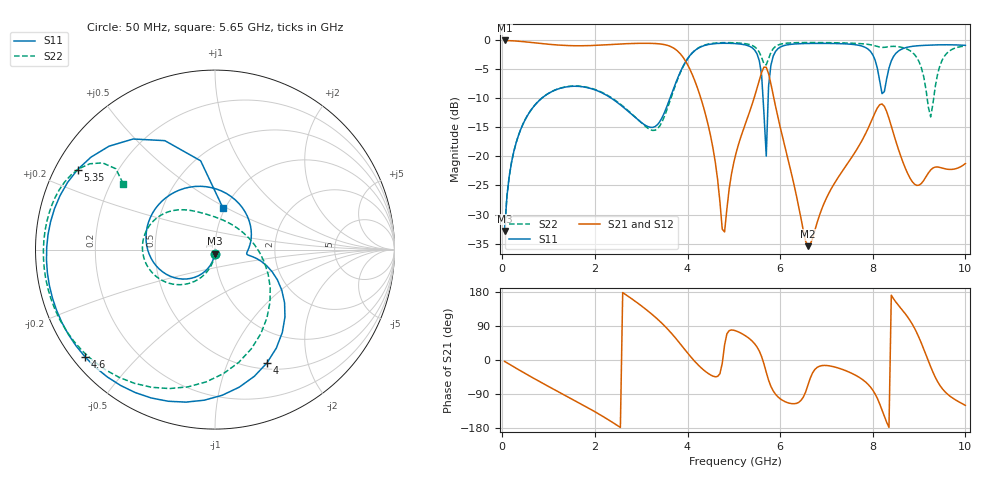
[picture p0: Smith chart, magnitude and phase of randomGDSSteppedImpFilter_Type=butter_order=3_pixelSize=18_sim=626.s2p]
! freq	dB(S11)	phase(S11)	dB(S12)	phase(S12)
!  dB(S21)	phase(S21)	dB(S22)	phase(S22)
!S-par simulation data
#  GHz  S  DB  R 50
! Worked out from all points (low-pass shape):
!   200 points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, 50 MHz to 10 GHz, reference 50 ohm
!   highest |S21| = -0.01 dB at 50 MHz (marker M1); lowest = -35.5 dB at 6.6 GHz (marker M2)
!   |S21| within 3 dB of the highest: start of sweep to 3.911 GHz
!   lowest |S11| = -32.8 dB at 50 MHz (marker M3), VSWR 1.05, Z = 49.8 - j2.26 ohm
!   |S11| at or under -10 dB: start of sweep to 847.4 MHz; 2.362 GHz to 3.62 GHz (1.258 GHz wide, 42 % of centre); 5.631 GHz to 5.741 GHz (110.6 MHz wide, 1.94 % of centre)
!   |S22| runs from -32.8 to -0.4 dB; largest |S21 - S12| = 0
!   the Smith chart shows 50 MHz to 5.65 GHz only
!   S11 on the Smith chart (normalised r, x): 50 MHz: 1.00, -0.05; 4 GHz: 0.57, -1.40; 4.6 GHz: 0.04, -0.36; 5.35 GHz: 0.06, +0.27; 5.65 GHz: 0.98, +0.48
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0.05  -32.85 -94.0  -0.01 -3.7  -0.01 -3.7  -32.83 -93.3
0.5  -13.57 -130.1  -0.25 -36.0  -0.25 -36.0  -13.55 -122.7
1.75  -8.00 133.6  -0.92 -119.3  -0.92 -119.3  -7.96 167.4
2.65  -11.76 45.6  -0.58 173.9  -0.58 173.9  -11.63 123.2
3.4  -14.01 -10.0  -0.60 102.4  -0.60 102.4  -14.75 31.3
4  -3.16 -65.4  -4.16 18.6  -4.16 18.6  -3.19 -86.1
4.6  -0.55 -140.4  -21.02 -44.4  -21.02 -44.4  -0.46 -155.6
4.8  -0.49 -159.0  -33.00 39.8  -33.00 39.8  -0.38 -170.3
5.05  -0.56 179.2  -19.35 76.6  -19.35 76.6  -0.42 173.8
5.35  -1.05 149.8  -12.08 54.9  -12.08 54.9  -0.74 155.8
5.65  -12.54 79.1  -4.61 -10.3  -4.61 -10.3  -4.04 144.5
5.7  -19.93 -124.5  -4.64 -32.5  -4.64 -32.5  -4.21 153.9
5.95  -1.44 165.6  -13.16 -97.0  -13.16 -97.0  -0.81 148.1
6.6  -0.53 111.0  -35.46 -65.8  -35.46 -65.8  -0.37 116.8
6.7  -0.52 104.6  -34.07 -34.0  -34.07 -34.0  -0.37 112.7
7.85  -1.25 14.0  -15.98 -58.7  -15.98 -58.7  -0.63 63.6
8.15  -6.99 -81.4  -11.07 -116.1  -11.07 -116.1  -1.14 49.7
8.35  -4.77 112.2  -13.44 -177.7  -13.44 -177.7  -1.07 41.3
9.1  -0.86 11.0  -24.13 29.1  -24.13 29.1  -6.26 -53.2
9.3  -0.79 -1.0  -21.98 -32.4  -21.98 -32.4  -10.87 151.3
9.55  -0.75 -14.9  -22.10 -82.5  -22.10 -82.5  -2.69 65.4
10  -0.85 -37.7  -21.22 -119.7  -21.22 -119.7  -0.97 15.0
